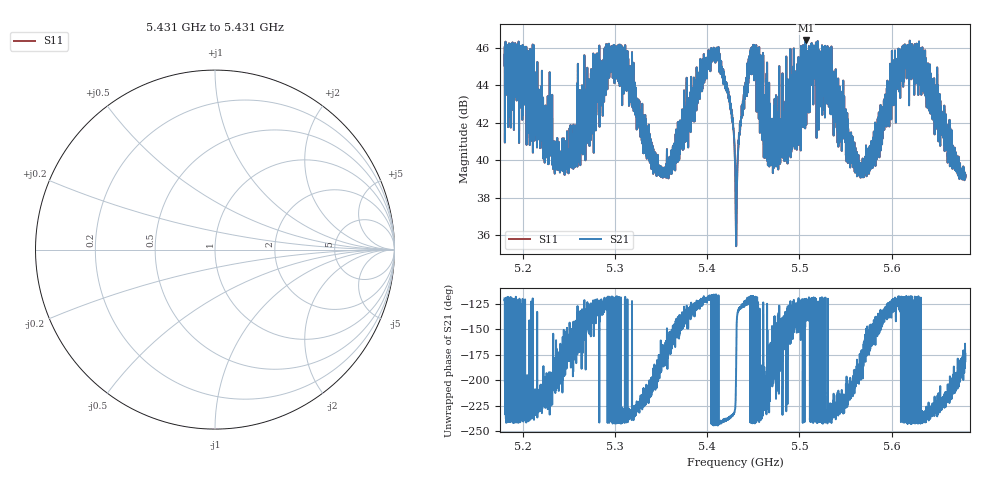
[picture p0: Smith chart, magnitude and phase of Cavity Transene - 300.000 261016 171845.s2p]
# HZ S RI R 50
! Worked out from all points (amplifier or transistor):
!   4999 points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, 5.18 GHz to 5.68 GHz, reference 50 ohm
!   highest |S21| = 46.4 dB at 5.507 GHz (marker M1)
!   |S21| within 3 dB of that: 5.392 GHz to 5.423 GHz (31.13 MHz wide, 0.576 % of centre)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
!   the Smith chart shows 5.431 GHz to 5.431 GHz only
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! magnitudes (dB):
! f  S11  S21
! 5.18 GHz  46.0  46.0
! 5.208 GHz  44.6  44.6
! 5.238 GHz  39.5  39.5
! 5.263 GHz  41.4  41.4
! 5.302 GHz  45.9  45.9
! 5.347 GHz  39.7  39.7
! 5.359 GHz  39.6  39.6
! 5.407 GHz  45.9  45.9
! 5.423 GHz  43.3  43.3
! 5.43 GHz  40.1  40.1
! 5.433 GHz  39.5  39.5
! 5.437 GHz  42.5  42.5
! 5.449 GHz  46.0  46.0
! 5.47 GHz  40.5  40.5
! 5.507 GHz  46.4  46.4
! 5.513 GHz  46.3  46.3
! 5.53 GHz  43.0  43.0
! 5.567 GHz  39.3  39.3
! 5.597 GHz  43.8  43.8
! 5.616 GHz  45.8  45.8
! 5.627 GHz  45.1  45.1
! 5.68 GHz  39.1  39.1
